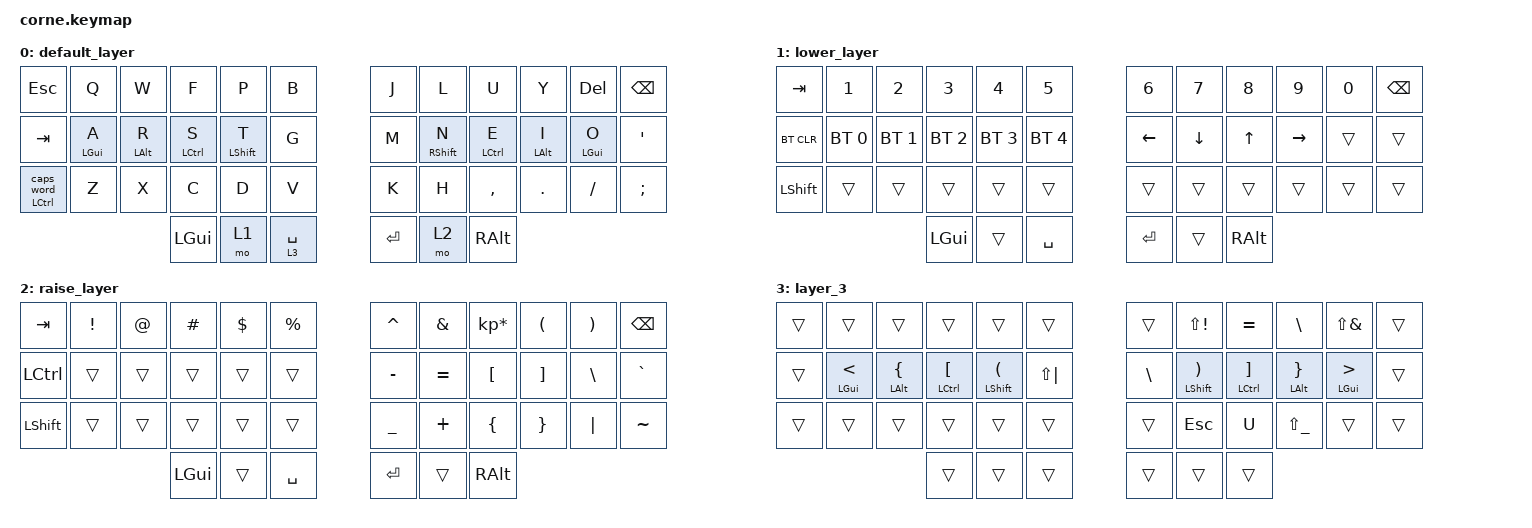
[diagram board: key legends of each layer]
/*
 * Copyright (c) 2020 The ZMK Contributors
 *
 * SPDX-License-Identifier: MIT
 */

#include <behaviors.dtsi>
#include <dt-bindings/zmk/bt.h>
#include <dt-bindings/zmk/keys.h>

&mt { flavor = "tap-preferred"; };

/ {
    behaviors {
        cwt: Caps_Word_Tap {
            compatible = "zmk,behavior-hold-tap";
            label = "CAPS_WORD_TAP";
            bindings = <&kp>, <&caps_word>;

            #binding-cells = <2>;
            tapping-term-ms = <200>;
        };
    };

    keymap {
        compatible = "zmk,keymap";

        default_layer {
            // -----------------------------------------------------------------------------------------
            // |  TAB |  Q  |  W  |  E  |  R  |  T  |   |  Y  |  U   |  I  |  O  |  P  | BKSP |
            // | CTRL |  A  |  S  |  D  |  F  |  G  |   |  H  |  J   |  K  |  L  |  ;  |  '   |
            // | SHFT |  Z  |  X  |  C  |  V  |  B  |   |  N  |  M   |  ,  |  .  |  /  | ESC  |
            //                    | GUI | LWR | SPC |   | ENT | RSE  | ALT |

            bindings = <
&kp ESC              &kp Q           &kp W           &kp F               &kp P             &kp B          &kp J    &kp L              &kp U               &kp Y           &kp DEL         &kp BSPC
&kp TAB              &mt LEFT_GUI A  &mt LEFT_ALT R  &mt LEFT_CONTROL S  &mt LEFT_SHIFT T  &kp G          &kp M    &mt RIGHT_SHIFT N  &mt LEFT_CONTROL E  &mt LEFT_ALT I  &mt LEFT_GUI O  &kp SQT
&cwt LEFT_CONTROL 0  &kp Z           &kp X           &kp C               &kp D             &kp V          &kp K    &kp H              &kp COMMA           &kp DOT         &kp FSLH        &kp SEMICOLON
                                                     &kp LGUI            &mo 1             &lt 3 SPACE    &kp RET  &mo 2              &kp RALT
            >;
        };

        lower_layer {
            // -----------------------------------------------------------------------------------------
            // |  TAB |  1  |  2  |  3  |  4  |  5  |   |  6  |  7  |  8  |  9  |  0  | BKSP |
            // | BTCLR| BT1 | BT2 | BT3 | BT4 | BT5 |   | LFT | DWN |  UP | RGT |     |      |
            // | SHFT |     |     |     |     |     |   |     |     |     |     |     |      |
            //                    | GUI |     | SPC |   | ENT |     | ALT |

            bindings = <
&kp TAB     &kp N1        &kp N2        &kp N3        &kp N4        &kp N5          &kp N6    &kp N7    &kp N8    &kp N9     &kp N0  &kp BSPC
&bt BT_CLR  &bt BT_SEL 0  &bt BT_SEL 1  &bt BT_SEL 2  &bt BT_SEL 3  &bt BT_SEL 4    &kp LEFT  &kp DOWN  &kp UP    &kp RIGHT  &trans  &trans
&kp LSHFT   &trans        &trans        &trans        &trans        &trans          &trans    &trans    &trans    &trans     &trans  &trans
                                        &kp LGUI      &trans        &kp SPACE       &kp RET   &trans    &kp RALT
            >;
        };

        raise_layer {
            // -----------------------------------------------------------------------------------------
            // |  TAB |  !  |  @  |  #  |  $  |  %  |   |  ^  |  &  |  *  |  (  |  )  | BKSP |
            // | CTRL |     |     |     |     |     |   |  -  |  =  |  [  |  ]  |  \  |  `   |
            // | SHFT |     |     |     |     |     |   |  _  |  +  |  {  |  }  | "|" |  ~   |
            //                    | GUI |     | SPC |   | ENT |     | ALT |

            bindings = <
&kp TAB    &kp EXCL  &kp AT  &kp HASH  &kp DLLR  &kp PRCNT    &kp CARET  &kp AMPS   &kp KP_MULTIPLY  &kp LPAR  &kp RPAR  &kp BSPC
&kp LCTRL  &trans    &trans  &trans    &trans    &trans       &kp MINUS  &kp EQUAL  &kp LBKT         &kp RBKT  &kp BSLH  &kp GRAVE
&kp LSHFT  &trans    &trans  &trans    &trans    &trans       &kp UNDER  &kp PLUS   &kp LBRC         &kp RBRC  &kp PIPE  &kp TILDE
                             &kp LGUI  &trans    &kp SPACE    &kp RET    &trans     &kp RALT
            >;
        };

        layer_3 {
            bindings = <
&trans  &trans                  &trans                   &trans                         &trans                           &trans          &trans    &kp LS(EXCL)                      &kp EQUAL                       &kp BSLH                  &kp LS(AMPS)               &trans
&trans  &mt LEFT_GUI LESS_THAN  &mt LEFT_ALT LEFT_BRACE  &mt LEFT_CONTROL LEFT_BRACKET  &mt LEFT_SHIFT LEFT_PARENTHESIS  &kp LS(PIPE)    &kp BSLH  &mt LEFT_SHIFT RIGHT_PARENTHESIS  &mt LEFT_CONTROL RIGHT_BRACKET  &mt LEFT_ALT RIGHT_BRACE  &mt LEFT_GUI GREATER_THAN  &trans
&trans  &trans                  &trans                   &trans                         &trans                           &trans          &trans    &kp ESC                           &kp U                           &kp LS(UNDER)             &trans                     &trans
                                                         &trans                         &trans                           &trans          &trans    &trans                            &trans
            >;
        };
    };
};
